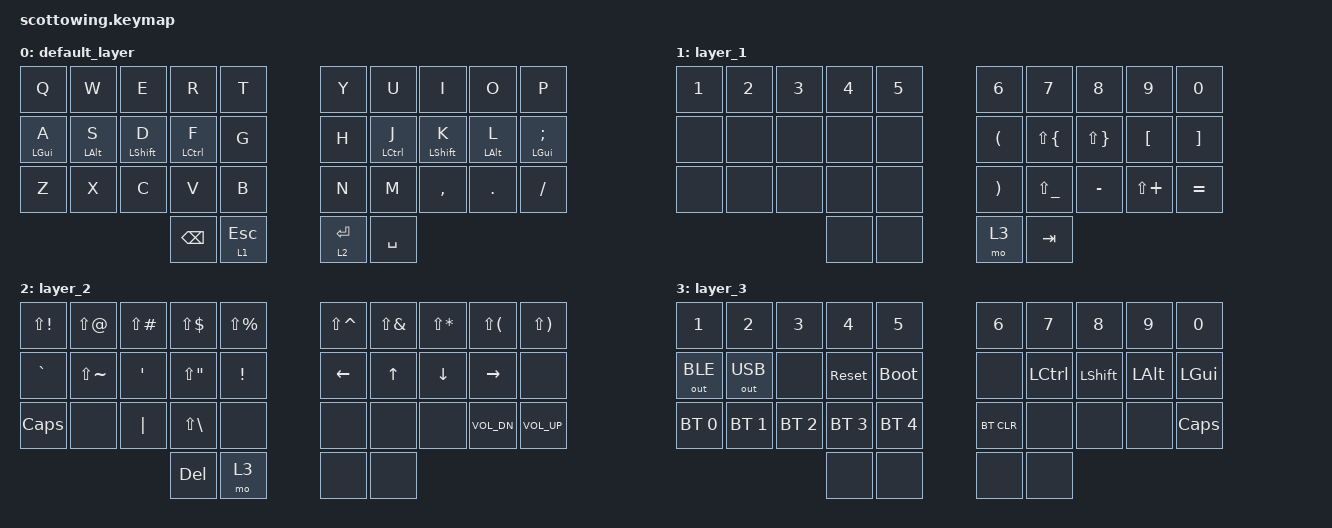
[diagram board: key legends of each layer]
#include <behaviors.dtsi>
#include <dt-bindings/zmk/bt.h>
#include <dt-bindings/zmk/keys.h>
#include <dt-bindings/zmk/outputs.h>

/ {
    combos { compatible = "zmk,combos"; };

    behaviors {
        hm: hm {
            compatible = "zmk,behavior-hold-tap";
            label = "HM";
            bindings = <&kp>, <&kp>;

            #binding-cells = <2>;
            tapping-term-ms = <175>;
            quick-tap-ms = <150>;
            flavor = "balanced";
            hold-trigger-on-release;
            hold-trigger-key-positions = <0 1 2 3 4 5 6 7 8 9 10 11 12 13 14 15 16 17 18 19 20 21 22 23 24 25 26 27 28 29>;
            require-prior-idle-ms = <150>;
        };

        hml: hml {
            compatible = "zmk,behavior-hold-tap";
            label = "HML";
            bindings = <&mo>, <&kp>;

            #binding-cells = <2>;
            tapping-term-ms = <175>;
            quick-tap-ms = <150>;
            hold-trigger-key-positions = <30 31 32 33>;
            hold-trigger-on-release;
            flavor = "balanced";
            require-prior-idle-ms = <150>;
        };
    };

    keymap {
        compatible = "zmk,keymap";

        default_layer {
            bindings = <
&kp Q       &kp W       &kp E         &kp R          &kp T          &kp Y         &kp U        &kp I        &kp O       &kp P
&hm LGUI A  &hm LALT S  &hm LSHIFT D  &hm LCTRL F    &kp G          &kp H         &hm LCTRL J  &hm LSHFT K  &hm LALT L  &hm LGUI SEMICOLON
&kp Z       &kp X       &kp C         &kp V          &kp B          &kp N         &kp M        &kp COMMA    &kp DOT     &kp FSLH
                                      &kp BACKSPACE  &hml 1 ESCAPE  &hml 2 ENTER  &kp SPACE
            >;
        };

        layer_1 {
            bindings = <
&kp N1  &kp N2  &kp N3  &kp N4  &kp N5  &kp N6    &kp N7         &kp N8        &kp N9        &kp N0
&none   &none   &none   &none   &none   &kp LPAR  &kp LS(LBRC)   &kp LS(RBRC)  &kp LBKT      &kp RBKT
&none   &none   &none   &none   &none   &kp RPAR  &kp LS(UNDER)  &kp MINUS     &kp LS(PLUS)  &kp EQUAL
                        &none   &none   &mo 3     &kp TAB
            >;
        };

        layer_2 {
            bindings = <
&kp LS(EXCL)  &kp LS(AT)     &kp LS(POUND)  &kp LS(DLLR)  &kp LS(PRCNT)    &kp LS(CARET)  &kp LS(AMPS)  &kp LS(STAR)  &kp LS(LPAR)  &kp LS(RPAR)
&kp GRAVE     &kp LS(TILDE)  &kp SQT        &kp LS(DQT)   &kp EXCLAMATION  &kp LEFT       &kp UP        &kp DOWN      &kp RIGHT     &none
&kp CAPS      &none          &kp PIPE       &kp LS(BSLH)  &none            &none          &none         &none         &kp C_VOL_DN  &kp C_VOLUME_UP
                                            &kp DEL       &mo 3            &none          &none
            >;
        };

        layer_3 {
            bindings = <
&kp N1        &kp N2        &kp N3        &kp N4        &kp N5        &kp N6      &kp N7     &kp N8     &kp N9    &kp N0
&out OUT_BLE  &out OUT_USB  &none         &sys_reset    &bootloader   &none       &kp LCTRL  &kp LSHFT  &kp LALT  &kp LGUI
&bt BT_SEL 0  &bt BT_SEL 1  &bt BT_SEL 2  &bt BT_SEL 3  &bt BT_SEL 4  &bt BT_CLR  &none      &none      &none     &kp CAPS
                                          &none         &none         &none       &none
            >;
        };
    };
};
